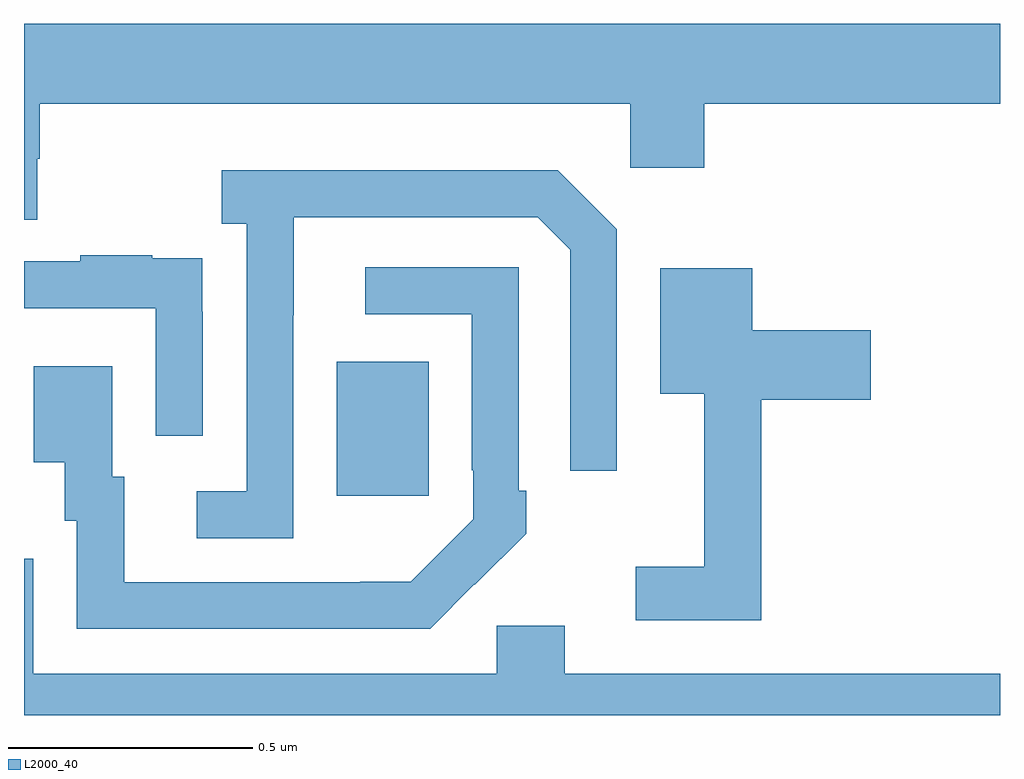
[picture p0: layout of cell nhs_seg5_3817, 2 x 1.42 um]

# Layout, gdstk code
import gdstk
lib = gdstk.Library(unit=1e-6, precision=1e-09)
def R(c, l, rs):  # rectangles x0, y0, x1, y1
    for r in rs: c.add(gdstk.rectangle(r[:2], r[2:], *l))
def P(c, l, *ps):  # polygons
    for p in ps: c.add(gdstk.Polygon(p, *l))
L2000_40 = (2000, 40)

nhs_seg5_3817 = lib.new_cell('nhs_seg5_3817')
R(nhs_seg5_3817, L2000_40, [(162.641,897.249,162.829,897.523)])
P(nhs_seg5_3817, L2000_40, [(162.027,897.939),(162.032,897.939),(162.032,898.052),(163.242,898.052),(163.242,897.921),(163.394,897.921),(163.394,898.052),(164,898.052),(164,898.216),(162,898.216),(162,897.814),(162.027,897.814)],
  [(162.552,897.619),(162.553,897.619),(162.553,897.819),(163.053,897.819),(163.119,897.753),(163.119,897.3),(163.215,897.3),(163.215,897.795),(163.094,897.916),(162.405,897.916),(162.405,897.806),(162.456,897.806),(162.456,897.258),(162.354,897.258),(162.354,897.162),(162.552,897.162)],
  [(162.366,897.626),(162.365,897.626),(162.365,897.735),(162.263,897.735),(162.263,897.742),(162.115,897.742),(162.115,897.729),(162,897.729),(162,897.633),(162.27,897.633),(162.27,897.372),(162.366,897.372)],
  [(162.923,897.067),(162.924,897.066),(163.029,897.171),(163.029,897.259),(163.014,897.259),(163.014,897.717),(162.699,897.717),(162.699,897.621),(162.918,897.621),(162.918,897.301),(162.921,897.301),(162.921,897.201),(162.793,897.073),(162.689,897.073),(162.689,897.072),(162.205,897.072),(162.205,897.288),(162.181,897.288),(162.181,897.514),(162.02,897.514),(162.02,897.317),(162.083,897.317),(162.083,897.198),(162.108,897.198),(162.108,896.976),(162.832,896.976)],
  [(163.511,897.446),(163.735,897.446),(163.735,897.588),(163.492,897.588),(163.492,897.715),(163.304,897.715),(163.304,897.458),(163.394,897.458),(163.394,897.103),(163.254,897.103),(163.254,896.994),(163.511,896.994)],
  [(163.108,896.982),(162.969,896.982),(162.969,896.884),(162.019,896.884),(162.019,897.12),(162,897.12),(162,896.799),(164,896.799),(164,896.884),(163.108,896.884)])

lib.write_gds('nhs_seg5_3817.gds')
